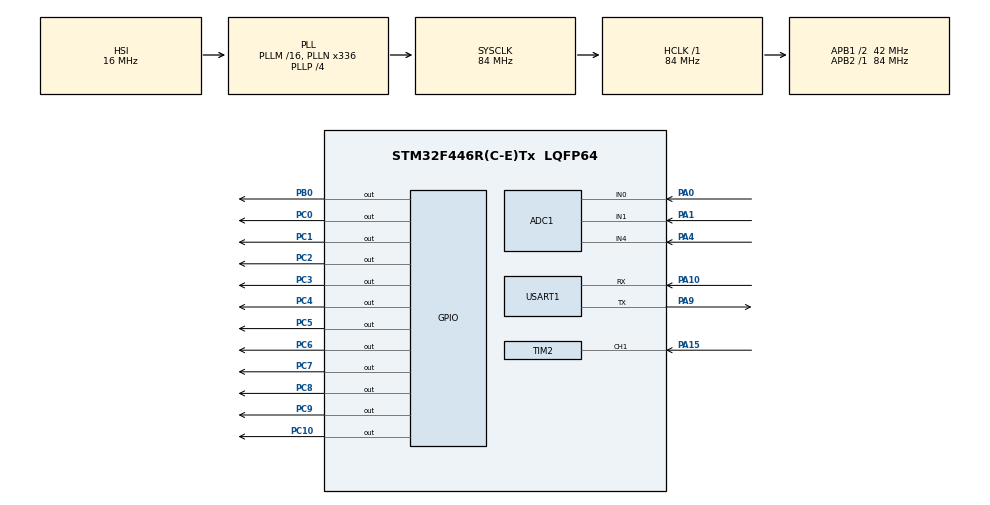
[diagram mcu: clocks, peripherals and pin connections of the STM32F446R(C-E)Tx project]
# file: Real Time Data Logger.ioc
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ADC1.Channel-0\#ChannelRegularConversion=ADC_CHANNEL_0
ADC1.Channel-1\#ChannelRegularConversion=ADC_CHANNEL_1
ADC1.Channel-2\#ChannelRegularConversion=ADC_CHANNEL_4
ADC1.ContinuousConvMode=ENABLE
ADC1.DMAContinuousRequests=ENABLE
ADC1.EOCSelection=ADC_EOC_SEQ_CONV
ADC1.NbrOfConversion=3
ADC1.NbrOfConversionFlag=1
ADC1.Rank-0\#ChannelRegularConversion=1
ADC1.Rank-1\#ChannelRegularConversion=2
ADC1.Rank-2\#ChannelRegularConversion=3
ADC1.SamplingTime-0\#ChannelRegularConversion=ADC_SAMPLETIME_3CYCLES
ADC1.SamplingTime-1\#ChannelRegularConversion=ADC_SAMPLETIME_3CYCLES
ADC1.SamplingTime-2\#ChannelRegularConversion=ADC_SAMPLETIME_3CYCLES
ADC1.ScanConvMode=ENABLE
ADC1.master=1
Dma.ADC1.0.Direction=DMA_PERIPH_TO_MEMORY
Dma.ADC1.0.FIFOMode=DMA_FIFOMODE_DISABLE
Dma.ADC1.0.Instance=DMA2_Stream0
Dma.ADC1.0.MemDataAlignment=DMA_MDATAALIGN_HALFWORD
Dma.ADC1.0.MemInc=DMA_MINC_ENABLE
Dma.ADC1.0.Mode=DMA_CIRCULAR
Dma.ADC1.0.PeriphDataAlignment=DMA_PDATAALIGN_HALFWORD
Dma.ADC1.0.PeriphInc=DMA_PINC_DISABLE
Dma.ADC1.0.Priority=DMA_PRIORITY_LOW
Dma.Request0=ADC1
FREERTOS.Tasks01=defaultTask,24,128,StartDefaultTask,Default,NULL,Dynamic,NULL,NULL
FREERTOS.configUSE_NEWLIB_REENTRANT=1
Mcu.Family=STM32F4
Mcu.Name=STM32F446R(C-E)Tx
Mcu.Package=LQFP64
NVIC.DMA2_Stream0_IRQn=true\:5\:0\:false\:false\:true\:true\:false\:true\:true
NVIC.PriorityGroup=NVIC_PRIORITYGROUP_4
NVIC.TIM2_IRQn=true\:5\:0\:false\:false\:true\:true\:true\:true\:true
NVIC.TIM5_IRQn=true\:15\:0\:false\:false\:true\:false\:false\:true\:true
NVIC.TimeBase=TIM5_IRQn
NVIC.TimeBaseIP=TIM5
NVIC.USART1_IRQn=true\:5\:0\:false\:false\:true\:true\:true\:true\:true
PA0-WKUP.Signal=SharedAnalog_PA0
PA1.Signal=SharedAnalog_PA1
PA10.Mode=Asynchronous
PA10.Signal=USART1_RX
PA13.Mode=Serial_Wire
PA13.Signal=SYS_JTMS-SWDIO
PA14.Mode=Serial_Wire
PA14.Signal=SYS_JTCK-SWCLK
PA15.Signal=S_TIM2_CH1_ETR
PA4.Signal=SharedAnalog_PA4
PA9.Mode=Asynchronous
PA9.Signal=USART1_TX
PB0.GPIO_Speed=GPIO_SPEED_FREQ_MEDIUM
PB0.Signal=GPIO_Output
PC0.Signal=GPIO_Output
PC1.Signal=GPIO_Output
PC10.Signal=GPIO_Output
PC2.Signal=GPIO_Output
PC3.Signal=GPIO_Output
PC4.Signal=GPIO_Output
PC5.Signal=GPIO_Output
PC6.Signal=GPIO_Output
PC7.Signal=GPIO_Output
PC8.Signal=GPIO_Output
PC9.Signal=GPIO_Output
ProjectManager.HeapSize=0x200
ProjectManager.StackSize=0x400
ProjectManager.TargetToolchain=STM32CubeIDE
RCC.48MHZClocksFreq_Value=84000000
RCC.AHBFreq_Value=84000000
RCC.APB1CLKDivider=RCC_HCLK_DIV2
RCC.APB1Freq_Value=42000000
RCC.APB1TimFreq_Value=84000000
RCC.APB2Freq_Value=84000000
RCC.APB2TimFreq_Value=84000000
RCC.CortexFreq_Value=84000000
RCC.FLatency-AdvancedSettings=FLASH_LATENCY_2
RCC.HCLKFreq_Value=84000000
RCC.HSE_VALUE=8000000
RCC.HSI_VALUE=16000000
RCC.PLLN=336
RCC.PLLP=RCC_PLLP_DIV4
RCC.SYSCLKFreq_VALUE=84000000
RCC.SYSCLKSource=RCC_SYSCLKSOURCE_PLLCLK
RCC.USBFreq_Value=168000000
RCC.VCOOutputFreq_Value=336000000
SH.S_TIM2_CH1_ETR.0=TIM2_CH1,Input_Capture1_from_TI1
SH.SharedAnalog_PA0.0=GPIO_Analog
SH.SharedAnalog_PA0.1=ADC1_IN0,IN0
SH.SharedAnalog_PA1.0=GPIO_Analog
SH.SharedAnalog_PA1.1=ADC1_IN1,IN1
SH.SharedAnalog_PA4.0=GPIO_Analog
SH.SharedAnalog_PA4.1=ADC1_IN4,IN4
TIM2.Channel-Input_Capture1_from_TI1=TIM_CHANNEL_1
TIM2.Period=4294967295
TIM2.Prescaler=89
USART1.VirtualMode=VM_ASYNC
VP_FREERTOS_VS_CMSIS_V2.Mode=CMSIS_V2
VP_SYS_VS_tim5.Mode=TIM5
board=NUCLEO-F446RE

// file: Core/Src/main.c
/* USER CODE BEGIN Header */
/**
  ******************************************************************************
  * @file           : main.c
  * @brief          : Main program body
  ******************************************************************************
  * @attention
  *
  * Copyright (c) 2026 STMicroelectronics.
  * All rights reserved.
  *
  * This software is licensed under terms that can be found in the LICENSE file
  * in the root directory of this software component.
  * If no LICENSE file comes with this software, it is provided AS-IS.
  *
  ******************************************************************************
  */
/* USER CODE END Header */
#include "main.h"
#include "cmsis_os.h"

/* USER CODE BEGIN Includes */
#include <stdio.h>
#include <string.h>
/* USER CODE END Includes */

/* USER CODE BEGIN PTD */

/* HC-SR04 Input Capture state machine */
typedef enum
{
    HCSR04_STATE_WAIT_RISING = 0,
    HCSR04_STATE_WAIT_FALLING
} HCSR04_State_t;

typedef struct
{
    float fDistanceCm;
    float fTemperatureC;
    float fLdrPercent;
    float fPotPercent;
} SensorData_t;

/* USER CODE END PTD */

/* USER CODE BEGIN PD */
#define DWT_CTRL        (*(volatile uint32_t*)0xE0001000)
#define DWT_CYCCNT       (*(volatile uint32_t*)0xE0001004)
#define DEMCR            (*(volatile uint32_t*)0xE000EDFC)
#define RS 8
#define EN 9
#define ADC_CHANNEL_COUNT   3U
#define ADC_VREF_MV         3300.0f   // board supply Nucleo-F446RE VDDA tied to 3.3V rail.*/
#define ADC_MAX_COUNT       4095.0f
#define ADC_IDX_LM35   0U
#define ADC_IDX_POT    1U
#define ADC_IDX_LDR    2U
#define COMM_FRAME_START_BYTE   0xAAU
#define COMM_FRAME_END_BYTE     0x55U
#define COMM_PAYLOAD_SIZE       16U   /* 4 floats x 4 bytes */
#define COMM_FRAME_SIZE         (1U + 1U + COMM_PAYLOAD_SIZE + 1U + 1U) /* = 20 */
/* USER CODE END PD */

ADC_HandleTypeDef hadc1;
DMA_HandleTypeDef hdma_adc1;

TIM_HandleTypeDef htim2;

UART_HandleTypeDef huart1;

/* Definitions for defaultTask */
osThreadId_t defaultTaskHandle;
const osThreadAttr_t defaultTask_attributes = {
  .name = "defaultTask",
  .stack_size = 128 * 4,
  .priority = (osPriority_t) osPriorityNormal,
};
/* USER CODE BEGIN PV */

static volatile HCSR04_State_t sHcsr04State = HCSR04_STATE_WAIT_RISING;
static volatile uint32_t       sIcValRising  = 0; // Its in hungarian notation meaning Static Input Capture Value Rising
static volatile uint32_t       sIcValFalling = 0;
static volatile uint32_t       sPulseWidthUs = 0;
static volatile uint8_t        sDistanceReady = 0;
static volatile float          sDistanceCm    = 0.0f;

static uint16_t sAdcDmaBuffer[ADC_CHANNEL_COUNT];

char lcdADCBuf[16];

HAL_StatusTypeDef status;

SensorData_t g_sensorData = {0};

osMutexId_t g_sensorDataMutexHandle;
const osMutexAttr_t g_sensorDataMutex_attributes = {
    .name      = "sensorDataMutex",
    .attr_bits = osMutexPrioInherit   /* prevents priority inversion between
                                          AcquisitionTask (higher prio) and
                                          LoggerTask (lower prio) */
};

osThreadId_t acquisitionTaskHandle;
const osThreadAttr_t acquisitionTask_attributes = {
    .name       = "AcquisitionTask",
    .stack_size = 256 * 4,
    .priority   = (osPriority_t) osPriorityAboveNormal
};

osThreadId_t lcdTaskHandle;
const osThreadAttr_t lcdTask_attributes = {
    .name       = "LcdTask",
    .stack_size = 256 * 4,
    .priority   = (osPriority_t) osPriorityNormal
};

osThreadId_t loggerTaskHandle;
const osThreadAttr_t loggerTask_attributes = {
    .name       = "LoggerTask",
    .stack_size = 128 * 4,
    .priority   = (osPriority_t) osPriorityBelowNormal
};

osThreadId_t commTaskHandle;
const osThreadAttr_t commTask_attributes = {
    .name       = "CommTask",
    .stack_size = 192 * 4,
    .priority   = (osPriority_t) osPriorityBelowNormal   /* same tier as LoggerTask —
                                                              both are non-time-critical
                                                              consumers of shared data */
};

/* USER CODE END PV */

void SystemClock_Config(void);
static void MX_GPIO_Init(void);
static void MX_DMA_Init(void);
static void MX_ADC1_Init(void);
static void MX_TIM2_Init(void);
static void MX_USART1_UART_Init(void);
void StartDefaultTask(void *argument);

/* USER CODE BEGIN PFP */
static void  DWT_Init(void);
static void  DWT_DelayUs(uint32_t microseconds);
static void  HCSR04_Trigger(void);
static float HCSR04_PulseWidthToCm(uint32_t pulseWidthUs);

void lcd_cmd(uint8_t);
void lcd_data(uint8_t);
void lcd_string(char *s);
void lcd_init(void);

static float ADC_ConvertLM35_ToCelsius(uint16_t rawAdc);
static float ADC_ConvertLDR_ToPercent(uint16_t rawAdc);
static float ADC_ConvertPot_ToPercent(uint16_t rawAdc);

void AcquisitionTask(void *argument);
void LcdTask(void *argument);
void LoggerTask(void *argument);

void CommTask(void *argument);
static uint8_t Comm_CalculateChecksum(const uint8_t *data, uint16_t len);
static void    Comm_BuildFrame(uint8_t *frameBuf, const SensorData_t *pData);
/* USER CODE END PFP */

int main(void)
{

  /* MCU Configuration--------------------------------------------------------*/

  /* Reset of all peripherals, Initializes the Flash interface and the Systick. */
  HAL_Init();

  /* Configure the system clock */
  SystemClock_Config();

  /* Initialize all configured peripherals */
  MX_GPIO_Init();
  MX_DMA_Init();
  MX_ADC1_Init();
  MX_TIM2_Init();
  MX_USART1_UART_Init();
  /* USER CODE BEGIN 2 */
  lcd_init();
  lcd_string("LCD Initialized");
  HAL_Delay(1000);
  DWT_Init();
  HAL_TIM_IC_Start_IT(&htim2, TIM_CHANNEL_1);

  status = HAL_ADC_Start_DMA(&hadc1, (uint32_t *)sAdcDmaBuffer, ADC_CHANNEL_COUNT);

  __HAL_DMA_DISABLE_IT(hadc1.DMA_Handle, DMA_IT_HT);
  __HAL_DMA_DISABLE_IT(hadc1.DMA_Handle, DMA_IT_TC);

  if(status != HAL_OK)
  {
	  Error_Handler();
  }

  /* USER CODE END 2 */

  /* Init scheduler */
  osKernelInitialize();

  /* USER CODE BEGIN RTOS_MUTEX */
  g_sensorDataMutexHandle = osMutexNew(&g_sensorDataMutex_attributes);
  acquisitionTaskHandle = osThreadNew(AcquisitionTask, NULL, &acquisitionTask_attributes);
  lcdTaskHandle  = osThreadNew(LcdTask, NULL, &lcdTask_attributes);
  loggerTaskHandle = osThreadNew(LoggerTask, NULL, &loggerTask_attributes);
  commTaskHandle = osThreadNew(CommTask, NULL, &commTask_attributes);
  /* USER CODE END RTOS_MUTEX */

  /* Create the thread(s) */
  /* creation of defaultTask */
  defaultTaskHandle = osThreadNew(StartDefaultTask, NULL, &defaultTask_attributes);

  /* Start scheduler */
  osKernelStart();

  /* We should never get here as control is now taken by the scheduler */

  /* Infinite loop */
  /* USER CODE BEGIN WHILE */
  while (1)
  {
//
    /* USER CODE END WHILE */

  }
}

void SystemClock_Config(void)
{
  RCC_OscInitTypeDef RCC_OscInitStruct = {0};
  RCC_ClkInitTypeDef RCC_ClkInitStruct = {0};

  /** Configure the main internal regulator output voltage
  */
  __HAL_RCC_PWR_CLK_ENABLE();
  __HAL_PWR_VOLTAGESCALING_CONFIG(PWR_REGULATOR_VOLTAGE_SCALE3);

  /** Initializes the RCC Oscillators according to the specified parameters
  * in the RCC_OscInitTypeDef structure.
  */
  RCC_OscInitStruct.OscillatorType = RCC_OSCILLATORTYPE_HSI;
  RCC_OscInitStruct.HSIState = RCC_HSI_ON;
  RCC_OscInitStruct.HSICalibrationValue = RCC_HSICALIBRATION_DEFAULT;
  RCC_OscInitStruct.PLL.PLLState = RCC_PLL_ON;
  RCC_OscInitStruct.PLL.PLLSource = RCC_PLLSOURCE_HSI;
  RCC_OscInitStruct.PLL.PLLM = 16;
  RCC_OscInitStruct.PLL.PLLN = 336;
  RCC_OscInitStruct.PLL.PLLP = RCC_PLLP_DIV4;
  RCC_OscInitStruct.PLL.PLLQ = 2;
  RCC_OscInitStruct.PLL.PLLR = 2;
  if (HAL_RCC_OscConfig(&RCC_OscInitStruct) != HAL_OK)
  {
    Error_Handler();
  }

  /** Initializes the CPU, AHB and APB buses clocks
  */
  RCC_ClkInitStruct.ClockType = RCC_CLOCKTYPE_HCLK|RCC_CLOCKTYPE_SYSCLK
                              |RCC_CLOCKTYPE_PCLK1|RCC_CLOCKTYPE_PCLK2;
  RCC_ClkInitStruct.SYSCLKSource = RCC_SYSCLKSOURCE_PLLCLK;
  RCC_ClkInitStruct.AHBCLKDivider = RCC_SYSCLK_DIV1;
  RCC_ClkInitStruct.APB1CLKDivider = RCC_HCLK_DIV2;
  RCC_ClkInitStruct.APB2CLKDivider = RCC_HCLK_DIV1;

  if (HAL_RCC_ClockConfig(&RCC_ClkInitStruct, FLASH_LATENCY_2) != HAL_OK)
  {
    Error_Handler();
  }
}

static void MX_ADC1_Init(void)
{

  ADC_ChannelConfTypeDef sConfig = {0};

  /** Configure the global features of the ADC (Clock, Resolution, Data Alignment and number of conversion)
  */
  hadc1.Instance = ADC1;
  hadc1.Init.ClockPrescaler = ADC_CLOCK_SYNC_PCLK_DIV4;
  hadc1.Init.Resolution = ADC_RESOLUTION_12B;
  hadc1.Init.ScanConvMode = ENABLE;
  hadc1.Init.ContinuousConvMode = ENABLE;
  hadc1.Init.DiscontinuousConvMode = DISABLE;
  hadc1.Init.ExternalTrigConvEdge = ADC_EXTERNALTRIGCONVEDGE_NONE;
  hadc1.Init.ExternalTrigConv = ADC_SOFTWARE_START;
  hadc1.Init.DataAlign = ADC_DATAALIGN_RIGHT;
  hadc1.Init.NbrOfConversion = 3;
  hadc1.Init.DMAContinuousRequests = ENABLE;
  hadc1.Init.EOCSelection = ADC_EOC_SEQ_CONV;
  if (HAL_ADC_Init(&hadc1) != HAL_OK)
  {
    Error_Handler();
  }

  /** Configure for the selected ADC regular channel its corresponding rank in the sequencer and its sample time.
  */
  sConfig.Channel = ADC_CHANNEL_0;
  sConfig.Rank = 1;
  sConfig.SamplingTime = ADC_SAMPLETIME_3CYCLES;
  if (HAL_ADC_ConfigChannel(&hadc1, &sConfig) != HAL_OK)
  {
    Error_Handler();
  }

  /** Configure for the selected ADC regular channel its corresponding rank in the sequencer and its sample time.
  */
  sConfig.Channel = ADC_CHANNEL_1;
  sConfig.Rank = 2;
  if (HAL_ADC_ConfigChannel(&hadc1, &sConfig) != HAL_OK)
  {
    Error_Handler();
  }

  /** Configure for the selected ADC regular channel its corresponding rank in the sequencer and its sample time.
  */
  sConfig.Channel = ADC_CHANNEL_4;
  sConfig.Rank = 3;
  if (HAL_ADC_ConfigChannel(&hadc1, &sConfig) != HAL_OK)
  {
    Error_Handler();
  }

}

static void MX_TIM2_Init(void)
{

  TIM_MasterConfigTypeDef sMasterConfig = {0};
  TIM_IC_InitTypeDef sConfigIC = {0};

  htim2.Instance = TIM2;
  htim2.Init.Prescaler = 89;
  htim2.Init.CounterMode = TIM_COUNTERMODE_UP;
  htim2.Init.Period = 4294967295;
  htim2.Init.ClockDivision = TIM_CLOCKDIVISION_DIV1;
  htim2.Init.AutoReloadPreload = TIM_AUTORELOAD_PRELOAD_DISABLE;
  if (HAL_TIM_IC_Init(&htim2) != HAL_OK)
  {
    Error_Handler();
  }
  sMasterConfig.MasterOutputTrigger = TIM_TRGO_RESET;
  sMasterConfig.MasterSlaveMode = TIM_MASTERSLAVEMODE_DISABLE;
  if (HAL_TIMEx_MasterConfigSynchronization(&htim2, &sMasterConfig) != HAL_OK)
  {
    Error_Handler();
  }
  sConfigIC.ICPolarity = TIM_INPUTCHANNELPOLARITY_RISING;
  sConfigIC.ICSelection = TIM_ICSELECTION_DIRECTTI;
  sConfigIC.ICPrescaler = TIM_ICPSC_DIV1;
  sConfigIC.ICFilter = 0;
  if (HAL_TIM_IC_ConfigChannel(&htim2, &sConfigIC, TIM_CHANNEL_1) != HAL_OK)
  {
    Error_Handler();
  }

}

static void MX_USART1_UART_Init(void)
{

  huart1.Instance = USART1;
  huart1.Init.BaudRate = 115200;
  huart1.Init.WordLength = UART_WORDLENGTH_8B;
  huart1.Init.StopBits = UART_STOPBITS_1;
  huart1.Init.Parity = UART_PARITY_NONE;
  huart1.Init.Mode = UART_MODE_TX_RX;
  huart1.Init.HwFlowCtl = UART_HWCONTROL_NONE;
  huart1.Init.OverSampling = UART_OVERSAMPLING_16;
  if (HAL_UART_Init(&huart1) != HAL_OK)
  {
    Error_Handler();
  }

}

static void MX_DMA_Init(void)
{

  /* DMA controller clock enable */
  __HAL_RCC_DMA2_CLK_ENABLE();

  /* DMA interrupt init */
  /* DMA2_Stream0_IRQn interrupt configuration */
  HAL_NVIC_SetPriority(DMA2_Stream0_IRQn, 5, 0);
  HAL_NVIC_EnableIRQ(DMA2_Stream0_IRQn);

}

static void MX_GPIO_Init(void)
{
  GPIO_InitTypeDef GPIO_InitStruct = {0};

  /* GPIO Ports Clock Enable */
  __HAL_RCC_GPIOC_CLK_ENABLE();
  __HAL_RCC_GPIOA_CLK_ENABLE();
  __HAL_RCC_GPIOB_CLK_ENABLE();

  /*Configure GPIO pin Output Level */
  HAL_GPIO_WritePin(GPIOC, GPIO_PIN_0|GPIO_PIN_1|GPIO_PIN_2|GPIO_PIN_3
                          |GPIO_PIN_4|GPIO_PIN_5|GPIO_PIN_6|GPIO_PIN_7
                          |GPIO_PIN_8|GPIO_PIN_9|GPIO_PIN_10, GPIO_PIN_RESET);

  /*Configure GPIO pin Output Level */
  HAL_GPIO_WritePin(GPIOB, GPIO_PIN_0, GPIO_PIN_RESET);

  /*Configure GPIO pins : PC0 PC1 PC2 PC3
                           PC4 PC5 PC6 PC7
                           PC8 PC9 PC10 */
  GPIO_InitStruct.Pin = GPIO_PIN_0|GPIO_PIN_1|GPIO_PIN_2|GPIO_PIN_3
                          |GPIO_PIN_4|GPIO_PIN_5|GPIO_PIN_6|GPIO_PIN_7
                          |GPIO_PIN_8|GPIO_PIN_9|GPIO_PIN_10;
  GPIO_InitStruct.Mode = GPIO_MODE_OUTPUT_PP;
  GPIO_InitStruct.Pull = GPIO_NOPULL;
  GPIO_InitStruct.Speed = GPIO_SPEED_FREQ_LOW;
  HAL_GPIO_Init(GPIOC, &GPIO_InitStruct);

  /*Configure GPIO pin : PB0 */
  GPIO_InitStruct.Pin = GPIO_PIN_0;
  GPIO_InitStruct.Mode = GPIO_MODE_OUTPUT_PP;
  GPIO_InitStruct.Pull = GPIO_NOPULL;
  GPIO_InitStruct.Speed = GPIO_SPEED_FREQ_MEDIUM;
  HAL_GPIO_Init(GPIOB, &GPIO_InitStruct);

}

/* USER CODE BEGIN 4 */

// DWT Microsecond Delay Driver

static void DWT_Init(void)
{
    DEMCR    |= (1U << 24);   /* TRCENA bit: enable trace/debug block */
    DWT_CYCCNT = 0U;
    DWT_CTRL  |= (1U << 0);   /* CYCCNTENA bit: enable cycle counter */
}

static void DWT_DelayUs(uint32_t microseconds)
{
    uint32_t startTick  = DWT_CYCCNT;
    uint32_t delayTicks = microseconds * (SystemCoreClock / 1000000U);

    while ((DWT_CYCCNT - startTick) < delayTicks)
    {
        /* busy-wait on cycle counter only — no software loop counting */
    }
}

// HC-SR04 Driver

static void HCSR04_Trigger(void)
{
   HAL_GPIO_WritePin(GPIOB, GPIO_PIN_0, GPIO_PIN_RESET);
   DWT_DelayUs(2);
   HAL_GPIO_WritePin(GPIOB, GPIO_PIN_0, GPIO_PIN_SET);
   DWT_DelayUs(10);
   HAL_GPIO_WritePin(GPIOB, GPIO_PIN_0, GPIO_PIN_RESET);
}

static float HCSR04_PulseWidthToCm(uint32_t pulseWidthUs)
{
   /* Speed of sound = 343 m/s = 0.0343 cm/us.
    * Divide by 2 because the pulse covers the round trip. */
   return ((float)pulseWidthUs * 0.0343f) / 2.0f;
}

void HAL_TIM_IC_CaptureCallback(TIM_HandleTypeDef *htim)
{
//	HAL_GPIO_TogglePin(GPIOC, GPIO_PIN_10);
   if (htim->Instance == TIM2 && htim->Channel == HAL_TIM_ACTIVE_CHANNEL_1)
   {
       if (sHcsr04State == HCSR04_STATE_WAIT_RISING)
       {
           sIcValRising = HAL_TIM_ReadCapturedValue(htim, TIM_CHANNEL_1);
           __HAL_TIM_SET_CAPTUREPOLARITY(htim, TIM_CHANNEL_1,
                                          TIM_INPUTCHANNELPOLARITY_FALLING);
           sHcsr04State = HCSR04_STATE_WAIT_FALLING;
       }
       else /* HCSR04_STATE_WAIT_FALLING */
       {
           sIcValFalling = HAL_TIM_ReadCapturedValue(htim, TIM_CHANNEL_1);

           /* Handle 32-bit counter wraparound safely */
           if (sIcValFalling >= sIcValRising)
           {
               sPulseWidthUs = sIcValFalling - sIcValRising;
           }
           else
           {
               sPulseWidthUs = (0xFFFFFFFFU - sIcValRising) + sIcValFalling + 1U;
           }

           sDistanceCm    = HCSR04_PulseWidthToCm(sPulseWidthUs);
           sDistanceReady = 1U;

           __HAL_TIM_SET_CAPTUREPOLARITY(htim, TIM_CHANNEL_1,
                                          TIM_INPUTCHANNELPOLARITY_RISING);
           sHcsr04State = HCSR04_STATE_WAIT_RISING;
       }
   }
}

// LM35
/* LM35: 10 mV per degree Celsius, linear from 0V at 0C.
 * Voltage(mV) = rawAdc * VREF_MV / 4095
 * Temperature(C) = Voltage(mV) / 10 */
static float ADC_ConvertLM35_ToCelsius(uint16_t rawAdc)
{
    float voltageMv = ((float)rawAdc * ADC_VREF_MV) / ADC_MAX_COUNT;
    return 28.0;
}

// POT
/* Potentiometer: simple linear mapping of raw ADC count to 0-100%.
 * Assumes a standard voltage-divider pot wired rail-to-rail
 * (0V to VDDA across full mechanical travel). */
static float ADC_ConvertPot_ToPercent(uint16_t rawAdc)
{
    return ((float)rawAdc / ADC_MAX_COUNT) * 100.0f;
}

// LDR
static float ADC_ConvertLDR_ToPercent(uint16_t rawAdc)
{
    return ((float)rawAdc / ADC_MAX_COUNT) * 100.0f;
}

// LCD driver

void lcd_cmd(uint8_t cmd)
{
	GPIOC->BSRR = (1 << (16 + RS));

	GPIOC->ODR &= ~(0X00FF);
	GPIOC->ODR |= (cmd << 0);

	GPIOC->BSRR = (1 << EN);
	HAL_Delay(1);
	GPIOC->BSRR = (1 << (16+EN));
	HAL_Delay(10);
}

void lcd_data(uint8_t data)
{
	GPIOC->BSRR = (1 << RS);

	GPIOC->ODR &= ~(0X00FF);
	GPIOC->ODR |= (data << 0);

	GPIOC->BSRR = (1 << EN);
	HAL_Delay(1);
	GPIOC->BSRR = (1 << (16+EN));
	HAL_Delay(10);
}

void lcd_string(char *s)
{
	while(*s)
		lcd_data(*s++);
}

void lcd_init(void)
{
	lcd_cmd(0x38);
	HAL_Delay(1);

	lcd_cmd(0x10);
	lcd_cmd(0x01);
	lcd_cmd(0x06);
	lcd_cmd(0x0C);
	lcd_cmd(0x80);
}

void AcquisitionTask(void *argument)
{
    for (;;)
    {
        /* Trigger a new ultrasonic measurement. The echo capture
         * happens asynchronously via TIM2 IC interrupt — sDistanceCm
         * always holds the most recent completed measurement. */
        HCSR04_Trigger();

        if (sDistanceReady)
        {
            sDistanceReady = 0U;
        }

        float temperatureC = ADC_ConvertLM35_ToCelsius(sAdcDmaBuffer[ADC_IDX_LM35]);
        float potPercent   = ADC_ConvertPot_ToPercent(sAdcDmaBuffer[ADC_IDX_POT]);
        float ldrPercent   = ADC_ConvertLDR_ToPercent(sAdcDmaBuffer[ADC_IDX_LDR]);

        osMutexAcquire(g_sensorDataMutexHandle, osWaitForever);
        g_sensorData.fDistanceCm   = sDistanceCm;
        g_sensorData.fTemperatureC = temperatureC;
        g_sensorData.fLdrPercent   = ldrPercent;
        g_sensorData.fPotPercent   = potPercent;
        osMutexRelease(g_sensorDataMutexHandle);

        /* Task period = 150 ms. This comfortably exceeds the HC-SR04
         * datasheet's 60 ms minimum re-trigger spacing, so no extra
         * delay is needed between Trigger() and the next loop pass. */
        osDelay(150);
    }
}

void LcdTask(void *argument)
{
    SensorData_t localCopy;
    char lineBuf[16];

    for (;;)
    {
        osMutexAcquire(g_sensorDataMutexHandle, osWaitForever);
        localCopy = g_sensorData;
        osMutexRelease(g_sensorDataMutexHandle);

        lcd_cmd(0x01);   /* clear display */
        lcd_cmd(0x80);   /* line 1 */
        snprintf(lineBuf, sizeof(lineBuf), "D:%.0fcm T:%.1fC",
                  localCopy.fDistanceCm, localCopy.fTemperatureC);
        lcd_string(lineBuf);

        lcd_cmd(0xC0);   /* line 2 */
        snprintf(lineBuf, sizeof(lineBuf), "P:%.0f%% L:%.0f%%",
                  localCopy.fPotPercent, localCopy.fLdrPercent);
        lcd_string(lineBuf);

        osDelay(300);
    }
}

void LoggerTask(void *argument)
{
    SensorData_t localCopy;

    for (;;)
    {
        osMutexAcquire(g_sensorDataMutexHandle, osWaitForever);
        localCopy = g_sensorData;
        osMutexRelease(g_sensorDataMutexHandle);

        /* Reserved for future EEPROM / SD card / UART / Wi-Fi logging.
         * Intentionally a read-only no-op for now, per architecture. */
        (void)localCopy;

        osDelay(500);
    }
}

static uint8_t Comm_CalculateChecksum(const uint8_t *data, uint16_t len)
{
    uint32_t sum = 0U;
    for (uint16_t i = 0U; i < len; i++)
    {
        sum += data[i];
    }
    return (uint8_t)(sum & 0xFFU);
}

static void Comm_BuildFrame(uint8_t *frameBuf, const SensorData_t *pData)
{
    frameBuf[0] = COMM_FRAME_START_BYTE;
    frameBuf[1] = COMM_PAYLOAD_SIZE;

    memcpy(&frameBuf[2],  &pData->fDistanceCm,   sizeof(float));
    memcpy(&frameBuf[6],  &pData->fTemperatureC, sizeof(float));
    memcpy(&frameBuf[10], &pData->fLdrPercent,   sizeof(float));
    memcpy(&frameBuf[14], &pData->fPotPercent,   sizeof(float));

    /* Checksum covers LEN + PAYLOAD (bytes 1 through 17 inclusive) */
    frameBuf[18] = Comm_CalculateChecksum(&frameBuf[1], 1U + COMM_PAYLOAD_SIZE);
    frameBuf[19] = COMM_FRAME_END_BYTE;
}

void CommTask(void *argument)
{
    SensorData_t localCopy;
    static uint8_t sCommTxFrame[COMM_FRAME_SIZE];

    for (;;)
    {
        osMutexAcquire(g_sensorDataMutexHandle, osWaitForever);
        localCopy = g_sensorData;
        osMutexRelease(g_sensorDataMutexHandle);

        Comm_BuildFrame(sCommTxFrame, &localCopy);

        /* Guard against overlapping transmits: only start a new
         * IT-based transmit if the previous one has fully completed.
         * At a 1s task period this will essentially never be busy,
         * but checking costs nothing and avoids a HAL_BUSY return
         * being silently ignored. */
        if (huart1.gState == HAL_UART_STATE_READY)
        {
            HAL_UART_Transmit_IT(&huart1, sCommTxFrame, COMM_FRAME_SIZE);
        }

        /* Cloud publish cadence — deliberately slower than the LCD
         * refresh rate. 1000 ms is a starting assumption, not a
         * spec requirement; tune based on your cloud backend's
         * ingestion rate/cost model once that's chosen. */
        osDelay(5000);
    }
}

/* USER CODE END 4 */

void StartDefaultTask(void *argument)
{
  for(;;)
  {
    osDelay(1);
  }
}

void HAL_TIM_PeriodElapsedCallback(TIM_HandleTypeDef *htim)
{
  if (htim->Instance == TIM5)
  {
    HAL_IncTick();
  }
}

void Error_Handler(void)
{
  __disable_irq();
  while (1)
  {
  }
}
